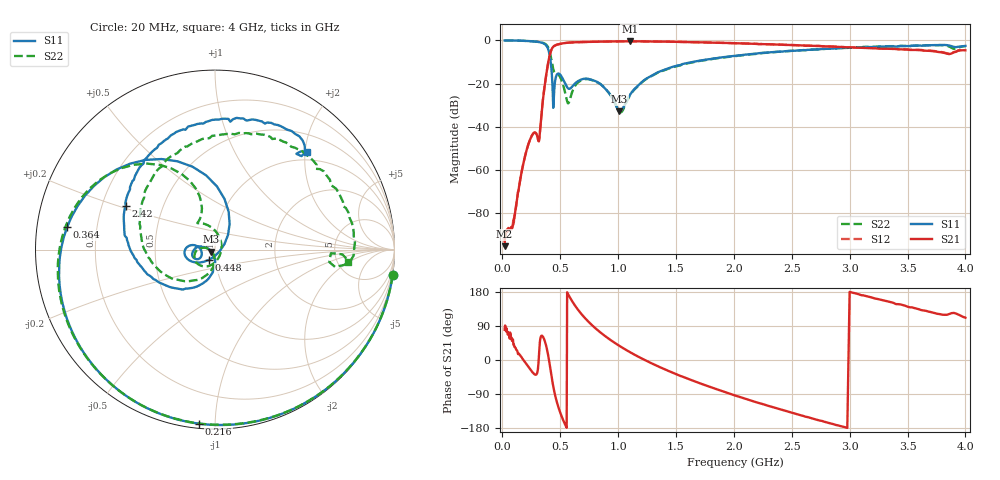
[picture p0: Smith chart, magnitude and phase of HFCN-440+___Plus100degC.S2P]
! Mini-Circuits
! S2P DATA File Format
! Unit Family Type: Filters
! MCL Part No: HFCN-440+
! Note: All S Parameters are in dB deg format
! The Unit was tested at -55 °C
# MHz S DB R 50
!  FREQ  dB(S11)  PHS(S11)  dB(S21)  PHS(S21)  dB(S12)  PHS(S12)  dB(S22)  PHS(S22)
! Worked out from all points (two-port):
!   401 points, 20 MHz to 4 GHz, reference 50 ohm
!   highest |S21| = -0.40 dB at 1.1 GHz (marker M1); lowest = -95.3 dB at 20 MHz (marker M2)
!   |S21| within 3 dB of the highest: 433 MHz to 3.095 GHz (2.662 GHz wide, 151 % of centre)
!   lowest |S11| = -32.8 dB at 1.011 GHz (marker M3), VSWR 1.05, Z = 48 - j1.08 ohm
!   |S11| at or under -10 dB: 418.1 MHz to 1.64 GHz (1.222 GHz wide, 119 % of centre)
!   |S22| runs from -33.3 to 0.0 dB; largest |S21 - S12| = 0.012
!   S11 on the Smith chart (normalised r, x): 20 MHz: 0, -14; 216 MHz: 0.02, -0.91; 364 MHz: 0.09, +0.08; 448 MHz: 0.93, -0.11; 2.42 GHz: 0.30, +0.21; 4 GHz: 0.82, +2.03
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20  -0.00 -8.2  -95.29 80.1  -93.33 91.6  -0.00 -8.2
108  -0.04 -45.6  -80.71 34.9  -80.76 37.7  -0.05 -46.1
216  -0.23 -95.4  -49.67 -14.2  -49.69 -14.1  -0.24 -96.2
316  -0.73 -149.6  -46.67 9.3  -46.68 9.4  -0.70 -149.2
364  -1.58 171.3  -21.82 52.8  -21.81 52.7  -1.38 174.8
400  -4.64 120.6  -9.25 5.9  -9.24 5.9  -3.69 133.7
424  -13.00 70.1  -4.31 -40.4  -4.31 -40.5  -8.92 107.5
436  -24.42 29.8  -3.17 -62.5  -3.16 -62.5  -12.38 107.6
448  -23.51 -120.8  -2.56 -81.6  -2.55 -81.6  -14.49 117.0
476  -15.51 -165.7  -1.90 -115.9  -1.89 -116.0  -15.30 120.9
540  -19.67 168.6  -1.20 -168.6  -1.19 -168.6  -23.56 64.6
572  -22.33 -174.2  -1.01 171.8  -1.01 171.7  -29.07 -18.8
684  -18.07 -157.2  -0.74 121.1  -0.74 121.1  -18.44 -132.2
856  -20.59 169.9  -0.53 70.7  -0.53 70.7  -20.56 178.8
1011  -32.77 -150.8  -0.42 37.4  -0.42 37.4  -32.95 -152.0
1100  -25.46 -90.3  -0.40 21.2  -0.40 21.2  -25.65 -92.9
1360  -14.38 -107.9  -0.50 -18.7  -0.50 -18.7  -14.56 -117.6
2020  -7.10 -172.5  -1.28 -94.6  -1.28 -94.5  -7.22 162.9
2420  -5.14 153.9  -1.98 -132.2  -1.95 -132.0  -5.20 122.5
2680  -4.22 134.4  -2.48 -154.5  -2.45 -154.1  -4.23 98.2
3340  -2.73 86.9  -3.86 154.1  -3.76 154.0  -2.64 43.8
4000  -2.53 46.8  -4.56 111.6  -4.40 111.1  -2.59 -5.1
